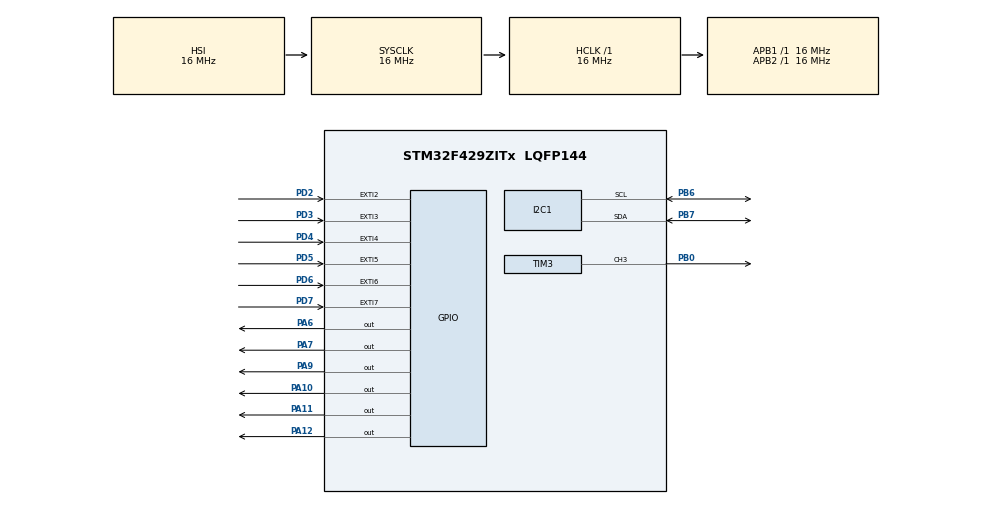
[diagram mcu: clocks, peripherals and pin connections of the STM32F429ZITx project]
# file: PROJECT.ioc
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Mcu.Family=STM32F4
Mcu.Name=STM32F429ZITx
Mcu.Package=LQFP144
NVIC.EXTI2_IRQn=true\:0\:0\:false\:false\:true\:true\:true\:true
NVIC.EXTI3_IRQn=true\:0\:0\:false\:false\:true\:true\:true\:true
NVIC.EXTI4_IRQn=true\:0\:0\:false\:false\:true\:true\:true\:true
NVIC.EXTI9_5_IRQn=true\:0\:0\:false\:false\:true\:true\:true\:true
NVIC.PriorityGroup=NVIC_PRIORITYGROUP_4
PA10.Signal=GPIO_Output
PA11.Signal=GPIO_Output
PA12.Signal=GPIO_Output
PA6.Signal=GPIO_Output
PA7.Signal=GPIO_Output
PA9.Signal=GPIO_Output
PB0.Signal=S_TIM3_CH3
PB6.Mode=I2C
PB6.Signal=I2C1_SCL
PB7.Mode=I2C
PB7.Signal=I2C1_SDA
PD2.GPIO_ModeDefaultEXTI=GPIO_MODE_IT_FALLING
PD2.GPIO_PuPd=GPIO_PULLUP
PD2.Signal=GPXTI2
PD3.GPIO_ModeDefaultEXTI=GPIO_MODE_IT_FALLING
PD3.GPIO_PuPd=GPIO_PULLUP
PD3.Signal=GPXTI3
PD4.GPIO_ModeDefaultEXTI=GPIO_MODE_IT_FALLING
PD4.GPIO_PuPd=GPIO_PULLUP
PD4.Signal=GPXTI4
PD5.GPIO_ModeDefaultEXTI=GPIO_MODE_IT_FALLING
PD5.GPIO_PuPd=GPIO_PULLUP
PD5.Signal=GPXTI5
PD6.GPIO_ModeDefaultEXTI=GPIO_MODE_IT_FALLING
PD6.GPIO_PuPd=GPIO_PULLUP
PD6.Signal=GPXTI6
PD7.GPIO_ModeDefaultEXTI=GPIO_MODE_IT_FALLING
PD7.GPIO_PuPd=GPIO_PULLUP
PD7.Signal=GPXTI7
ProjectManager.HeapSize=0x200
ProjectManager.StackSize=0x400
ProjectManager.TargetToolchain=CMake
RCC.AHBFreq_Value=16000000
RCC.APB1Freq_Value=16000000
RCC.APB2Freq_Value=16000000
RCC.CortexFreq_Value=16000000
RCC.HSE_VALUE=25000000
RCC.HSI_VALUE=16000000
RCC.LSE_VALUE=32768
RCC.SYSCLKFreq_VALUE=16000000
RCC.VCOOutputFreq_Value=192000000
SH.S_TIM3_CH3.0=TIM3_CH3,PWM Generation3 CH3
TIM3.Channel-PWM\ Generation3\ CH3=TIM_CHANNEL_3
VP_TIM3_VS_ClockSourceINT.Mode=Internal
board=custom

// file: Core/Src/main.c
/* USER CODE BEGIN Header */
/**
  ******************************************************************************
  * @file           : main.c
  * @brief          : Main program body
  ******************************************************************************
  * @attention
  *
  * Copyright (c) 2026 STMicroelectronics.
  * All rights reserved.
  *
  * This software is licensed under terms that can be found in the LICENSE file
  * in the root directory of this software component.
  * If no LICENSE file comes with this software, it is provided AS-IS.
  *
  ******************************************************************************
  */
/* USER CODE END Header */
#include "main.h"

/* USER CODE BEGIN Includes */
#include <stdio.h>
#include "lcd.h"
#include "game.h"
#include "button.h"
#include "led.h"
#include "buzzer.h"
/* USER CODE END Includes */

I2C_HandleTypeDef hi2c1;

TIM_HandleTypeDef htim3;

void SystemClock_Config(void);
static void MX_GPIO_Init(void);
static void MX_I2C1_Init(void);
static void MX_TIM3_Init(void);

/* USER CODE BEGIN 0 */

/* turn_off_all_leds() and turn_on_led() moved to led.c */

/* USER CODE END 0 */

int main(void)
{

  /* MCU Configuration--------------------------------------------------------*/

  /* Reset of all peripherals, Initializes the Flash interface and the Systick. */
  HAL_Init();

  /* Configure the system clock */
  SystemClock_Config();

  /* Initialize all configured peripherals */
  MX_GPIO_Init();
  MX_I2C1_Init();
  MX_TIM3_Init();
  /* USER CODE BEGIN 2 */
    buzzer_init();
    lcd_init();
    lcd_set_cursor(0, 0);
    reset_state();
    lcd_print("0");

  /* USER CODE END 2 */

  /* Infinite loop */
  while (1)
  {

    /* USER CODE BEGIN 3 */
    if (pending_sound) {
        if (pending_sound == 1) sound_hit();
        else if (pending_sound == 2) sound_miss();
        pending_sound = 0;
    }

    next_random_led();
  }
  /* USER CODE END 3 */
}

void SystemClock_Config(void)
{
  RCC_OscInitTypeDef RCC_OscInitStruct = {0};
  RCC_ClkInitTypeDef RCC_ClkInitStruct = {0};

  /** Configure the main internal regulator output voltage
  */
  __HAL_RCC_PWR_CLK_ENABLE();
  __HAL_PWR_VOLTAGESCALING_CONFIG(PWR_REGULATOR_VOLTAGE_SCALE3);

  /** Initializes the RCC Oscillators according to the specified parameters
  * in the RCC_OscInitTypeDef structure.
  */
  RCC_OscInitStruct.OscillatorType = RCC_OSCILLATORTYPE_HSI;
  RCC_OscInitStruct.HSIState = RCC_HSI_ON;
  RCC_OscInitStruct.HSICalibrationValue = RCC_HSICALIBRATION_DEFAULT;
  RCC_OscInitStruct.PLL.PLLState = RCC_PLL_NONE;
  if (HAL_RCC_OscConfig(&RCC_OscInitStruct) != HAL_OK)
  {
    Error_Handler();
  }

  /** Initializes the CPU, AHB and APB buses clocks
  */
  RCC_ClkInitStruct.ClockType = RCC_CLOCKTYPE_HCLK|RCC_CLOCKTYPE_SYSCLK
                              |RCC_CLOCKTYPE_PCLK1|RCC_CLOCKTYPE_PCLK2;
  RCC_ClkInitStruct.SYSCLKSource = RCC_SYSCLKSOURCE_HSI;
  RCC_ClkInitStruct.AHBCLKDivider = RCC_SYSCLK_DIV1;
  RCC_ClkInitStruct.APB1CLKDivider = RCC_HCLK_DIV1;
  RCC_ClkInitStruct.APB2CLKDivider = RCC_HCLK_DIV1;

  if (HAL_RCC_ClockConfig(&RCC_ClkInitStruct, FLASH_LATENCY_0) != HAL_OK)
  {
    Error_Handler();
  }
}

static void MX_I2C1_Init(void)
{

  hi2c1.Instance = I2C1;
  hi2c1.Init.ClockSpeed = 100000;
  hi2c1.Init.DutyCycle = I2C_DUTYCYCLE_2;
  hi2c1.Init.OwnAddress1 = 0;
  hi2c1.Init.AddressingMode = I2C_ADDRESSINGMODE_7BIT;
  hi2c1.Init.DualAddressMode = I2C_DUALADDRESS_DISABLE;
  hi2c1.Init.OwnAddress2 = 0;
  hi2c1.Init.GeneralCallMode = I2C_GENERALCALL_DISABLE;
  hi2c1.Init.NoStretchMode = I2C_NOSTRETCH_DISABLE;
  if (HAL_I2C_Init(&hi2c1) != HAL_OK)
  {
    Error_Handler();
  }

  /** Configure Analogue filter
  */
  if (HAL_I2CEx_ConfigAnalogFilter(&hi2c1, I2C_ANALOGFILTER_ENABLE) != HAL_OK)
  {
    Error_Handler();
  }

  /** Configure Digital filter
  */
  if (HAL_I2CEx_ConfigDigitalFilter(&hi2c1, 0) != HAL_OK)
  {
    Error_Handler();
  }

}

static void MX_TIM3_Init(void)
{

  TIM_ClockConfigTypeDef sClockSourceConfig = {0};
  TIM_MasterConfigTypeDef sMasterConfig = {0};
  TIM_OC_InitTypeDef sConfigOC = {0};

  htim3.Instance = TIM3;
  htim3.Init.Prescaler = 0;
  htim3.Init.CounterMode = TIM_COUNTERMODE_UP;
  htim3.Init.Period = 65535;
  htim3.Init.ClockDivision = TIM_CLOCKDIVISION_DIV1;
  htim3.Init.AutoReloadPreload = TIM_AUTORELOAD_PRELOAD_DISABLE;
  if (HAL_TIM_Base_Init(&htim3) != HAL_OK)
  {
    Error_Handler();
  }
  sClockSourceConfig.ClockSource = TIM_CLOCKSOURCE_INTERNAL;
  if (HAL_TIM_ConfigClockSource(&htim3, &sClockSourceConfig) != HAL_OK)
  {
    Error_Handler();
  }
  if (HAL_TIM_PWM_Init(&htim3) != HAL_OK)
  {
    Error_Handler();
  }
  sMasterConfig.MasterOutputTrigger = TIM_TRGO_RESET;
  sMasterConfig.MasterSlaveMode = TIM_MASTERSLAVEMODE_DISABLE;
  if (HAL_TIMEx_MasterConfigSynchronization(&htim3, &sMasterConfig) != HAL_OK)
  {
    Error_Handler();
  }
  sConfigOC.OCMode = TIM_OCMODE_PWM1;
  sConfigOC.Pulse = 0;
  sConfigOC.OCPolarity = TIM_OCPOLARITY_HIGH;
  sConfigOC.OCFastMode = TIM_OCFAST_DISABLE;
  if (HAL_TIM_PWM_ConfigChannel(&htim3, &sConfigOC, TIM_CHANNEL_3) != HAL_OK)
  {
    Error_Handler();
  }
  HAL_TIM_MspPostInit(&htim3);

}

static void MX_GPIO_Init(void)
{
  GPIO_InitTypeDef GPIO_InitStruct = {0};

  /* GPIO Ports Clock Enable */
  __HAL_RCC_GPIOA_CLK_ENABLE();
  __HAL_RCC_GPIOB_CLK_ENABLE();
  __HAL_RCC_GPIOD_CLK_ENABLE();

  /*Configure GPIO pin Output Level */
  HAL_GPIO_WritePin(GPIOA, GPIO_PIN_6|GPIO_PIN_7|GPIO_PIN_9|GPIO_PIN_10
                          |GPIO_PIN_11|GPIO_PIN_12, GPIO_PIN_RESET);

  /*Configure GPIO pins : PA6 PA7 PA9 PA10
                           PA11 PA12 */
  GPIO_InitStruct.Pin = GPIO_PIN_6|GPIO_PIN_7|GPIO_PIN_9|GPIO_PIN_10
                          |GPIO_PIN_11|GPIO_PIN_12;
  GPIO_InitStruct.Mode = GPIO_MODE_OUTPUT_PP;
  GPIO_InitStruct.Pull = GPIO_NOPULL;
  GPIO_InitStruct.Speed = GPIO_SPEED_FREQ_LOW;
  HAL_GPIO_Init(GPIOA, &GPIO_InitStruct);

  /*Configure GPIO pins : PD2 PD3 PD4 PD5
                           PD6 PD7 */
  GPIO_InitStruct.Pin = GPIO_PIN_2|GPIO_PIN_3|GPIO_PIN_4|GPIO_PIN_5
                          |GPIO_PIN_6|GPIO_PIN_7;
  GPIO_InitStruct.Mode = GPIO_MODE_IT_FALLING;
  GPIO_InitStruct.Pull = GPIO_PULLUP;
  HAL_GPIO_Init(GPIOD, &GPIO_InitStruct);

  /* EXTI interrupt init*/
  HAL_NVIC_SetPriority(EXTI2_IRQn, 0, 0);
  HAL_NVIC_EnableIRQ(EXTI2_IRQn);

  HAL_NVIC_SetPriority(EXTI3_IRQn, 0, 0);
  HAL_NVIC_EnableIRQ(EXTI3_IRQn);

  HAL_NVIC_SetPriority(EXTI4_IRQn, 0, 0);
  HAL_NVIC_EnableIRQ(EXTI4_IRQn);

  HAL_NVIC_SetPriority(EXTI9_5_IRQn, 0, 0);
  HAL_NVIC_EnableIRQ(EXTI9_5_IRQn);

}

/* USER CODE BEGIN 4 */
volatile uint32_t last_button_time = 0;
void HAL_GPIO_EXTI_Callback(uint16_t GPIO_Pin)
{
    uint32_t current_time = HAL_GetTick();
    if (current_time - last_button_time > 200) {
            handle_press_button(GPIO_Pin);
        last_button_time = current_time;
    }
}
/* USER CODE END 4 */

void Error_Handler(void)
{
  __disable_irq();
  while (1)
  {
  }
}
